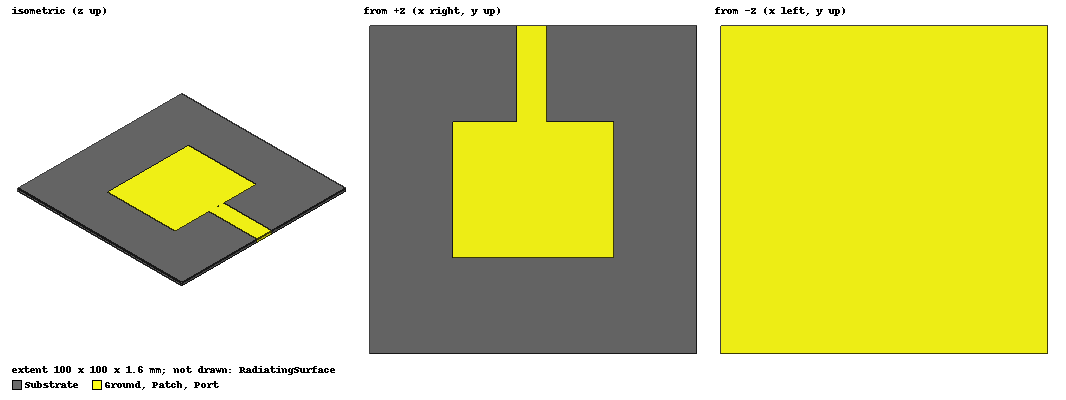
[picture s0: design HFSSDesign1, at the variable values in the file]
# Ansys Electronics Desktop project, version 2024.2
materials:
  vacuum: permittivity=1
  Taconic TLY (tm): permittivity=2.2 dielectric_loss_tangent=0.0009
  air: permittivity=1.0006 permeability=1.0000004

design HFSSDesign1 (HFSS, HFSS Terminal Network, model units mm)
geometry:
  Substrate [Taconic TLY (tm)] = box(corner=(0mm, 0mm, 0mm), size=(100mm, 100mm, 1.6mm))
  Rectangle1 = rectangle(corner=((50.62/2) mm, (58.72/2) mm, 1.6mm), x_size=49.38mm, y_size=41.28mm)
  Patch = rectangle(corner=(54mm, 70.65mm, 1.6mm), x_size=-9mm, y_size=29.36mm)
  Patch.unite(Rectangle1)
  Ground = rectangle(corner=(100mm, 0mm, 0mm), x_size=-100mm, y_size=100mm)
  Port = rectangle(corner=(54mm, 100.01mm, 1.6mm), z_size=-1.6mm, x_size=-9mm)
  RadiatingSurface [vacuum] = region(absolute_offset=41.666667mm on all sides)
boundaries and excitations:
  PerfE2: Perfect E Objects=Ground
  PerfE3: Perfect E Objects=Patch
  Open1: Radiation Objects=RadiatingSurface
  1: Lumped Port Objects=Port LumpedPortType=Modal Modes{Mode1{IntLine{(49.5, 100.01, 0) -> (49.5, 100.01, 1.6)} CharImp=Zpi}} Impedance=50ohm
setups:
  Setup1: HfssDriven Frequency=2.4GHz MaxDeltaS=0.02 MaximumPasses=6 MinimumPasses=1 MinimumConvergedPasses=1 PercentRefinement=30 BasisOrder=1 PortAccuracy=2 DrivenSolverType="Direct Solver"
    sweep Sweep: 1.2GHz to 3.6GHz, 401 points; Type=Interpolating InterpTolerance=0.5 InterpMaxSolns=250 PassivityErrorTolerance=0.0001
    sweep Sweep1: 1.2GHz to 3.6GHz, 401 points; Type=Fast SaveFields
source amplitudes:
  1:1: 1V 0deg
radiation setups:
  3D: Infinite Sphere Theta=0deg..180deg step 2deg Phi=-180deg..180deg step 2deg
  Elevation: Infinite Sphere Theta=-180deg..180deg step 1deg Phi=0deg..90deg step 90deg
  Azimuth: Infinite Sphere Theta=90deg..90deg step 0deg Phi=-180deg..180deg step 1deg
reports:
  Terminal S Parameter Plot 1: dB(St(1,1)) vs Freq on Setup1 : Sweep
